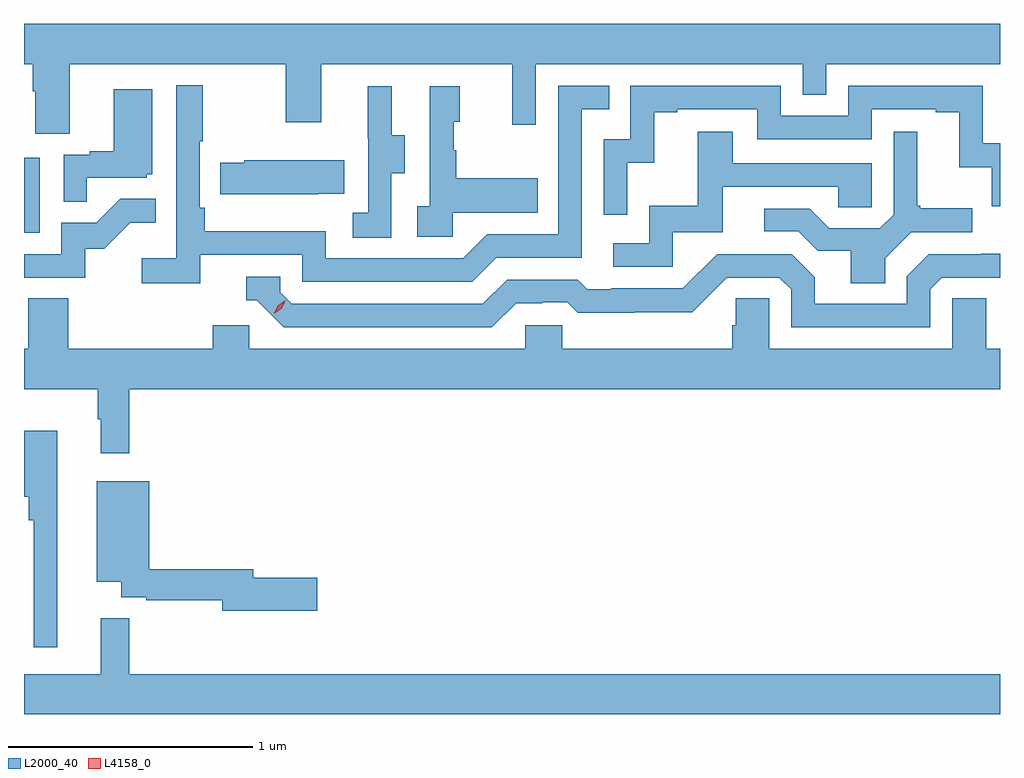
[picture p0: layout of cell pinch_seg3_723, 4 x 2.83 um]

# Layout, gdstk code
import gdstk
lib = gdstk.Library(unit=1e-6, precision=1e-09)
def R(c, l, rs):  # rectangles x0, y0, x1, y1
    for r in rs: c.add(gdstk.rectangle(r[:2], r[2:], *l))
def P(c, l, *ps):  # polygons
    for p in ps: c.add(gdstk.Polygon(p, *l))
L2000_40 = (2000, 40)
L4158_0 = (4158, 0)

pinch_seg3_723 = lib.new_cell('pinch_seg3_723')
R(pinch_seg3_723, L2000_40, [(875.598,730.86,875.662,731.167)])
P(pinch_seg3_723, L2000_40, [(875.785,731.552),(876.67,731.552),(876.67,731.313),(876.817,731.313),(876.817,731.552),(877.598,731.552),(877.598,731.304),(877.695,731.304),(877.695,731.552),(878.79,731.552),(878.79,731.425),(878.886,731.425),(878.886,731.552),(879.598,731.552),(879.598,731.716),(875.598,731.716),(875.598,731.552),(875.633,731.552),(875.633,731.44),(875.645,731.44),(875.645,731.266),(875.785,731.266)],
  [(876.32,730.77),(876.738,730.77),(876.738,730.659),(877.435,730.659),(877.534,730.758),(877.884,730.758),(877.884,731.367),(877.997,731.367),(877.997,731.463),(877.788,731.463),(877.788,730.854),(877.497,730.854),(877.398,730.755),(876.834,730.755),(876.834,730.867),(876.338,730.867),(876.338,730.963),(876.318,730.963),(876.318,731.236),(876.331,731.236),(876.331,731.464),(876.222,731.464),(876.222,730.756),(876.081,730.756),(876.081,730.654),(876.32,730.654)],
  [(878.07,731.147),(878.18,731.147),(878.18,731.355),(878.275,731.355),(878.275,731.367),(878.604,731.367),(878.604,731.244),(879.072,731.244),(879.072,731.367),(879.335,731.367),(879.335,731.355),(879.431,731.355),(879.431,731.129),(879.564,731.129),(879.564,730.968),(879.598,730.968),(879.598,731.227),(879.528,731.227),(879.528,731.463),(878.976,731.463),(878.976,731.34),(878.7,731.34),(878.7,731.463),(878.082,731.463),(878.082,731.244),(877.974,731.244),(877.974,730.935),(878.07,730.935)],
  [(877.104,731.104),(877.159,731.104),(877.159,731.259),(877.105,731.259),(877.105,731.461),(877.007,731.461),(877.007,731.247),(877.008,731.247),(877.008,730.943),(876.945,730.943),(876.945,730.84),(877.104,730.84)],
  [(877.356,730.943),(877.703,730.943),(877.703,731.083),(877.369,731.083),(877.369,731.198),(877.359,731.198),(877.359,731.316),(877.384,731.316),(877.384,731.461),(877.26,731.461),(877.26,730.97),(877.209,730.97),(877.209,730.845),(877.356,730.845)],
  [(875.855,731.085),(876.102,731.085),(876.102,731.1),(876.124,731.1),(876.124,731.449),(875.966,731.449),(875.966,731.194),(875.867,731.194),(875.867,731.181),(875.76,731.181),(875.76,730.987),(875.855,730.987)],
  [(879.127,730.756),(879.234,730.863),(879.484,730.863),(879.484,730.96),(879.271,730.96),(879.271,730.972),(879.259,730.972),(879.259,731.275),(879.162,731.275),(879.162,730.935),(879.105,730.878),(878.899,730.878),(878.818,730.959),(878.631,730.959),(878.631,730.866),(878.772,730.866),(878.852,730.786),(878.987,730.786),(878.987,730.654),(879.127,730.654)],
  [(878.256,730.863),(878.461,730.863),(878.461,731.049),(878.935,731.049),(878.935,730.965),(879.072,730.965),(879.072,731.145),(878.503,731.145),(878.503,731.275),(878.359,731.275),(878.359,730.972),(878.16,730.972),(878.16,730.818),(878.013,730.818),(878.013,730.722),(878.256,730.722)],
  [(876.803,731.021),(876.911,731.021),(876.911,731.158),(876.501,731.158),(876.501,731.148),(876.403,731.148),(876.403,731.018),(876.803,731.018)],
  [(875.85,730.794),(875.926,730.794),(876.033,730.901),(876.137,730.901),(876.137,731),(875.993,731),(875.895,730.902),(875.751,730.902),(875.751,730.773),(875.598,730.773),(875.598,730.677),(875.85,730.677)],
  [(877.615,730.572),(877.722,730.572),(877.722,730.575),(877.825,730.575),(877.867,730.533),(878.1,730.533),(878.1,730.535),(878.336,730.535),(878.478,730.677),(878.694,730.677),(878.742,730.629),(878.742,730.473),(879.312,730.473),(879.312,730.629),(879.36,730.677),(879.598,730.677),(879.598,730.775),(879.522,730.775),(879.522,730.773),(879.306,730.773),(879.216,730.683),(879.216,730.569),(878.839,730.569),(878.839,730.679),(878.745,730.773),(878.439,730.773),(878.298,730.632),(878.005,730.632),(878.005,730.629),(877.906,730.629),(877.867,730.668),(877.578,730.668),(877.479,730.569),(876.696,730.569),(876.648,730.617),(876.648,730.68),(876.509,730.68),(876.509,730.584),(876.552,730.584),(876.663,730.473),(877.516,730.473)],
  [(876.029,730.22),(879.598,730.22),(879.598,730.384),(879.541,730.384),(879.541,730.592),(879.402,730.592),(879.402,730.384),(878.652,730.384),(878.652,730.592),(878.515,730.592),(878.515,730.482),(878.501,730.482),(878.501,730.384),(877.803,730.384),(877.803,730.482),(877.653,730.482),(877.653,730.384),(876.522,730.384),(876.522,730.482),(876.371,730.482),(876.371,730.384),(875.78,730.384),(875.78,730.592),(875.615,730.592),(875.615,730.384),(875.598,730.384),(875.598,730.22),(875.901,730.22),(875.901,730.097),(875.912,730.097),(875.912,729.957),(876.029,729.957)],
  [(875.734,730.048),(875.598,730.048),(875.598,729.779),(875.617,729.779),(875.617,729.683),(875.637,729.683),(875.637,729.162),(875.734,729.162)],
  [(876.799,729.446),(876.538,729.446),(876.538,729.482),(876.112,729.482),(876.112,729.841),(875.897,729.841),(875.897,729.431),(875.996,729.431),(875.996,729.366),(876.1,729.366),(876.1,729.354),(876.41,729.354),(876.41,729.311),(876.799,729.311)],
  [(879.598,729.052),(876.029,729.052),(876.029,729.281),(875.912,729.281),(875.912,729.052),(875.598,729.052),(875.598,728.888),(879.598,728.888)])
P(pinch_seg3_723, L4158_0, [(876.624,730.531),(876.624,730.532),(876.64,730.564),(876.67,730.584),(876.671,730.584),(876.671,730.584),(876.655,730.551),(876.625,730.531)])

lib.write_gds('pinch_seg3_723.gds')
